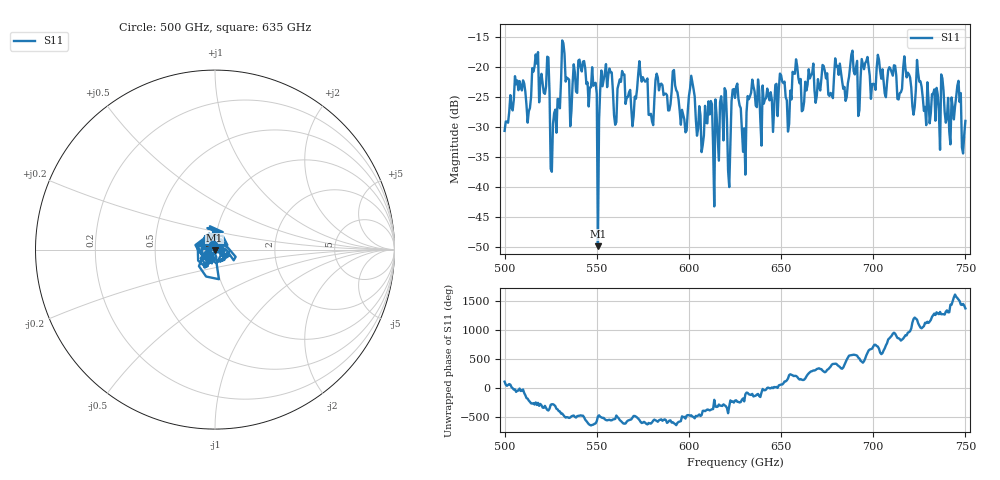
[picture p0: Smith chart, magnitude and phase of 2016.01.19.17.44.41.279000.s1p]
!Created with skrf (http://scikit-rf.org).
# GHz S RI R 50.0
!freq ReS11 ImS11
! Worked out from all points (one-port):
!   401 points, 500 GHz to 750 GHz, reference 50 ohm
!   lowest |S11| = -49.8 dB at 550.6 GHz (marker M1), VSWR 1.01, Z = 49.8 - j0.236 ohm
!   |S11| at or under -10 dB: start of sweep to end of sweep
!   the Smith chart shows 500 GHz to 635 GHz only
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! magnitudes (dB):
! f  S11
! 500 GHz  -30.6
! 506.9 GHz  -22.2
! 513.1 GHz  -27.3
! 516.9 GHz  -17.9
! 523.1 GHz  -18.3
! 526.2 GHz  -29.5
! 531.2 GHz  -15.6
! 548.8 GHz  -22.8
! 550.6 GHz  -49.8
! 553.8 GHz  -22.1
! 560 GHz  -29.6
! 562.5 GHz  -22.0
! 570 GHz  -28.2
! 574.4 GHz  -22.4
! 579.4 GHz  -27.8
! 593.8 GHz  -24.2
! 615 GHz  -28.0
! 618.8 GHz  -32.2
! 621.9 GHz  -40.0
! 625 GHz  -25.1
! 630 GHz  -30.2
! 634.4 GHz  -22.1
! 656.2 GHz  -20.8
! 687.5 GHz  -19.8
! 718.8 GHz  -20.9
! 740.6 GHz  -25.1
! 746.2 GHz  -22.3
! 750 GHz  -29.0
